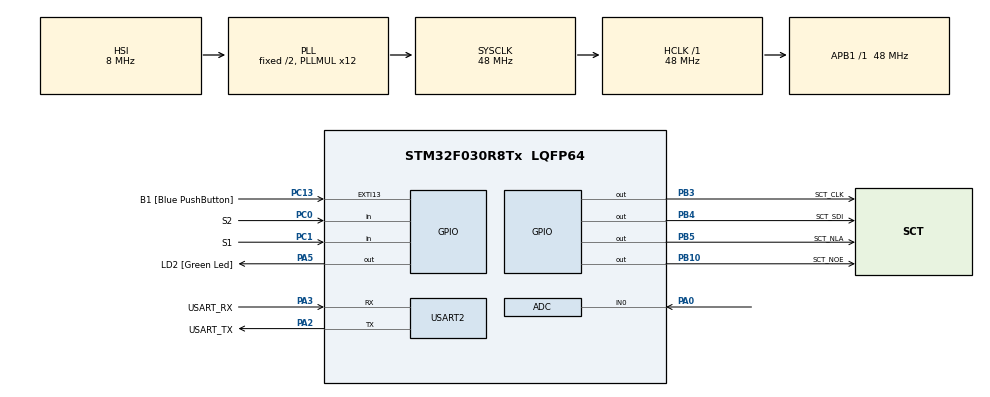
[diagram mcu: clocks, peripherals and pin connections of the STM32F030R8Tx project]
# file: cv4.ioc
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ADC.ContinuousConvMode=ENABLE
ADC.Overrun=ADC_OVR_DATA_OVERWRITTEN
ADC.SamplingTime=ADC_SAMPLETIME_239CYCLES_5
Mcu.Family=STM32F0
Mcu.Name=STM32F030R8Tx
Mcu.Package=LQFP64
NVIC.ADC1_IRQn=true\:0\:0\:false\:false\:true\:true\:true\:true
PA0.Mode=IN0
PA0.Signal=ADC_IN0
PA13.GPIO_Label=TMS
PA13.Mode=Serial_Wire
PA13.Signal=SYS_SWDIO
PA14.GPIO_Label=TCK
PA14.Mode=Serial_Wire
PA14.Signal=SYS_SWCLK
PA2.GPIO_Label=USART_TX
PA2.GPIO_Mode=GPIO_MODE_AF_PP
PA2.GPIO_PuPd=GPIO_NOPULL
PA2.GPIO_Speed=GPIO_SPEED_FREQ_LOW
PA2.Mode=Asynchronous
PA2.Signal=USART2_TX
PA3.GPIO_Label=USART_RX
PA3.GPIO_Mode=GPIO_MODE_AF_PP
PA3.GPIO_PuPd=GPIO_NOPULL
PA3.GPIO_Speed=GPIO_SPEED_FREQ_LOW
PA3.Mode=Asynchronous
PA3.Signal=USART2_RX
PA5.GPIO_Label=LD2 [Green Led]
PA5.GPIO_Mode=GPIO_MODE_OUTPUT_PP
PA5.GPIO_PuPd=GPIO_NOPULL
PA5.GPIO_Speed=GPIO_SPEED_FREQ_LOW
PA5.Signal=GPIO_Output
PB10.GPIO_Label=SCT_NOE
PB10.Signal=GPIO_Output
PB3.GPIO_Label=SCT_CLK
PB3.Signal=GPIO_Output
PB4.GPIO_Label=SCT_SDI
PB4.Signal=GPIO_Output
PB5.GPIO_Label=SCT_NLA
PB5.Signal=GPIO_Output
PC0.GPIO_Label=S2
PC0.GPIO_PuPd=GPIO_PULLUP
PC0.Signal=GPIO_Input
PC1.GPIO_Label=S1
PC1.GPIO_PuPd=GPIO_PULLUP
PC1.Signal=GPIO_Input
PC13.GPIO_Label=B1 [Blue PushButton]
PC13.GPIO_ModeDefaultEXTI=GPIO_MODE_IT_FALLING
PC13.Signal=GPXTI13
PC14-OSC32_IN.Mode=LSE-External-Oscillator
PC14-OSC32_IN.Signal=RCC_OSC32_IN
PC15-OSC32_OUT.Mode=LSE-External-Oscillator
PC15-OSC32_OUT.Signal=RCC_OSC32_OUT
PF0-OSC_IN.Mode=HSE-External-Clock-Source
PF0-OSC_IN.Signal=RCC_OSC_IN
PF1-OSC_OUT.Signal=RCC_OSC_OUT
ProjectManager.HeapSize=0x200
ProjectManager.StackSize=0x400
ProjectManager.TargetToolchain=STM32CubeIDE
RCC.AHBFreq_Value=48000000
RCC.APB1Freq_Value=48000000
RCC.APB1TimFreq_Value=48000000
RCC.HCLKFreq_Value=48000000
RCC.PLLMUL=RCC_PLL_MUL12
RCC.SYSCLKFreq_VALUE=48000000
RCC.SYSCLKSource=RCC_SYSCLKSOURCE_PLLCLK
USART2.VirtualMode-Asynchronous=VM_ASYNC
VP_ADC_TempSens_Input.Mode=IN-TempSens
VP_ADC_Vref_Input.Mode=IN-Vrefint
board=NUCLEO-F030R8

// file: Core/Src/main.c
/* USER CODE BEGIN Header */
/**
  ******************************************************************************
  * @file           : main.c
  * @brief          : Main program body
  ******************************************************************************
  * @attention
  *
  * Copyright (c) 2022 STMicroelectronics.
  * All rights reserved.
  *
  * This software is licensed under terms that can be found in the LICENSE file
  * in the root directory of this software component.
  * If no LICENSE file comes with this software, it is provided AS-IS.
  *
  ******************************************************************************
  */
/* USER CODE END Header */
#include "main.h"

/* USER CODE BEGIN Includes */
#include "sct.h"
/* USER CODE END Includes */

/* USER CODE BEGIN PD */
#define ADC_Q 13
/* Temperature sensor calibration value address */
#define TEMP110_CAL_ADDR ((uint16_t*) ((uint32_t) 0x1FFFF7C2))
#define TEMP30_CAL_ADDR ((uint16_t*) ((uint32_t) 0x1FFFF7B8))
/* Internal voltage reference calibration value address */
#define VREFINT_CAL_ADDR ((uint16_t*) ((uint32_t) 0x1FFFF7BA))
/* USER CODE END PD */

ADC_HandleTypeDef hadc;

UART_HandleTypeDef huart2;

/* USER CODE BEGIN PV */
static volatile uint32_t raw_pot;
static volatile uint32_t raw_temp;
static volatile uint32_t raw_volt;
/* USER CODE END PV */

void SystemClock_Config(void);
static void MX_GPIO_Init(void);
static void MX_USART2_UART_Init(void);
static void MX_ADC_Init(void);

/* USER CODE BEGIN 0 */
void HAL_ADC_ConvCpltCallback(ADC_HandleTypeDef* hadc)
{

	static uint32_t avg_pot;
	static uint32_t channel;
	if (channel == 0){
		raw_pot = avg_pot >> ADC_Q;
		avg_pot -= raw_pot;
		avg_pot += HAL_ADC_GetValue(hadc);
	}
	else if (channel == 1) {
		raw_temp = HAL_ADC_GetValue(hadc);
	}
	else if (channel == 2) {
		raw_volt = HAL_ADC_GetValue(hadc);
	}
	if (__HAL_ADC_GET_FLAG(hadc, ADC_FLAG_EOS)) channel = 0;
	else channel++;
}
/* USER CODE END 0 */

int main(void)
{

  /* MCU Configuration--------------------------------------------------------*/

  /* Reset of all peripherals, Initializes the Flash interface and the Systick. */
  HAL_Init();

  /* Configure the system clock */
  SystemClock_Config();

  /* Initialize all configured peripherals */
  MX_GPIO_Init();
  MX_USART2_UART_Init();
  MX_ADC_Init();
  /* USER CODE BEGIN 2 */
  sct_init();

  HAL_ADCEx_Calibration_Start(&hadc);
  HAL_ADC_Start_IT(&hadc);
  /* USER CODE END 2 */

  /* Infinite loop */
  while (1)
  {

    /* USER CODE BEGIN 3 */
	  static uint32_t time = 0;
	  static enum { SHOW_POT, SHOW_VOLT, SHOW_TEMP } state = SHOW_POT; //stavovy automat
	  if (HAL_GPIO_ReadPin(S1_GPIO_Port, S1_Pin)==0) {
		  time = HAL_GetTick();
		  state = SHOW_VOLT;
	  }
	  if (HAL_GPIO_ReadPin(S2_GPIO_Port, S2_Pin)==0) {
		  time = HAL_GetTick();
		  state = SHOW_TEMP;
	  }
	  if (HAL_GetTick() > time+1000) {
		  state = SHOW_POT;
	  }

	  if (state == SHOW_POT) {
		  sct_value((raw_pot*501/4096), ((raw_pot)/500));
	  }
	  else if (state == SHOW_TEMP) {
		  int32_t temperature = (raw_temp - (int32_t)(*TEMP30_CAL_ADDR));
		  temperature = temperature * (int32_t)(110 - 30);
		  temperature = temperature / (int32_t)(*TEMP110_CAL_ADDR - *TEMP30_CAL_ADDR);
		  temperature = temperature + 30;
		  sct_value(temperature, 0);
	  }
	  else if (state == SHOW_VOLT) {
		  uint32_t voltage = 330 * (*VREFINT_CAL_ADDR) / raw_volt;
		  sct_value(voltage, 0);

	  }
	  HAL_Delay(50);
  }
  /* USER CODE END 3 */
}

void SystemClock_Config(void)
{
  RCC_OscInitTypeDef RCC_OscInitStruct = {0};
  RCC_ClkInitTypeDef RCC_ClkInitStruct = {0};

  /** Initializes the RCC Oscillators according to the specified parameters
  * in the RCC_OscInitTypeDef structure.
  */
  RCC_OscInitStruct.OscillatorType = RCC_OSCILLATORTYPE_HSI|RCC_OSCILLATORTYPE_HSI14;
  RCC_OscInitStruct.HSIState = RCC_HSI_ON;
  RCC_OscInitStruct.HSI14State = RCC_HSI14_ON;
  RCC_OscInitStruct.HSICalibrationValue = RCC_HSICALIBRATION_DEFAULT;
  RCC_OscInitStruct.HSI14CalibrationValue = 16;
  RCC_OscInitStruct.PLL.PLLState = RCC_PLL_ON;
  RCC_OscInitStruct.PLL.PLLSource = RCC_PLLSOURCE_HSI;
  RCC_OscInitStruct.PLL.PLLMUL = RCC_PLL_MUL12;
  RCC_OscInitStruct.PLL.PREDIV = RCC_PREDIV_DIV1;
  if (HAL_RCC_OscConfig(&RCC_OscInitStruct) != HAL_OK)
  {
    Error_Handler();
  }

  /** Initializes the CPU, AHB and APB buses clocks
  */
  RCC_ClkInitStruct.ClockType = RCC_CLOCKTYPE_HCLK|RCC_CLOCKTYPE_SYSCLK
                              |RCC_CLOCKTYPE_PCLK1;
  RCC_ClkInitStruct.SYSCLKSource = RCC_SYSCLKSOURCE_PLLCLK;
  RCC_ClkInitStruct.AHBCLKDivider = RCC_SYSCLK_DIV1;
  RCC_ClkInitStruct.APB1CLKDivider = RCC_HCLK_DIV1;

  if (HAL_RCC_ClockConfig(&RCC_ClkInitStruct, FLASH_LATENCY_1) != HAL_OK)
  {
    Error_Handler();
  }
}

static void MX_ADC_Init(void)
{

  ADC_ChannelConfTypeDef sConfig = {0};

  /** Configure the global features of the ADC (Clock, Resolution, Data Alignment and number of conversion)
  */
  hadc.Instance = ADC1;
  hadc.Init.ClockPrescaler = ADC_CLOCK_ASYNC_DIV1;
  hadc.Init.Resolution = ADC_RESOLUTION_12B;
  hadc.Init.DataAlign = ADC_DATAALIGN_RIGHT;
  hadc.Init.ScanConvMode = ADC_SCAN_DIRECTION_FORWARD;
  hadc.Init.EOCSelection = ADC_EOC_SINGLE_CONV;
  hadc.Init.LowPowerAutoWait = DISABLE;
  hadc.Init.LowPowerAutoPowerOff = DISABLE;
  hadc.Init.ContinuousConvMode = ENABLE;
  hadc.Init.DiscontinuousConvMode = DISABLE;
  hadc.Init.ExternalTrigConv = ADC_SOFTWARE_START;
  hadc.Init.ExternalTrigConvEdge = ADC_EXTERNALTRIGCONVEDGE_NONE;
  hadc.Init.DMAContinuousRequests = DISABLE;
  hadc.Init.Overrun = ADC_OVR_DATA_OVERWRITTEN;
  if (HAL_ADC_Init(&hadc) != HAL_OK)
  {
    Error_Handler();
  }

  /** Configure for the selected ADC regular channel to be converted.
  */
  sConfig.Channel = ADC_CHANNEL_0;
  sConfig.Rank = ADC_RANK_CHANNEL_NUMBER;
  sConfig.SamplingTime = ADC_SAMPLETIME_239CYCLES_5;
  if (HAL_ADC_ConfigChannel(&hadc, &sConfig) != HAL_OK)
  {
    Error_Handler();
  }

  /** Configure for the selected ADC regular channel to be converted.
  */
  sConfig.Channel = ADC_CHANNEL_TEMPSENSOR;
  if (HAL_ADC_ConfigChannel(&hadc, &sConfig) != HAL_OK)
  {
    Error_Handler();
  }

  /** Configure for the selected ADC regular channel to be converted.
  */
  sConfig.Channel = ADC_CHANNEL_VREFINT;
  if (HAL_ADC_ConfigChannel(&hadc, &sConfig) != HAL_OK)
  {
    Error_Handler();
  }

}

static void MX_USART2_UART_Init(void)
{

  huart2.Instance = USART2;
  huart2.Init.BaudRate = 38400;
  huart2.Init.WordLength = UART_WORDLENGTH_8B;
  huart2.Init.StopBits = UART_STOPBITS_1;
  huart2.Init.Parity = UART_PARITY_NONE;
  huart2.Init.Mode = UART_MODE_TX_RX;
  huart2.Init.HwFlowCtl = UART_HWCONTROL_NONE;
  huart2.Init.OverSampling = UART_OVERSAMPLING_16;
  huart2.Init.OneBitSampling = UART_ONE_BIT_SAMPLE_DISABLE;
  huart2.AdvancedInit.AdvFeatureInit = UART_ADVFEATURE_NO_INIT;
  if (HAL_UART_Init(&huart2) != HAL_OK)
  {
    Error_Handler();
  }

}

static void MX_GPIO_Init(void)
{
  GPIO_InitTypeDef GPIO_InitStruct = {0};

  /* GPIO Ports Clock Enable */
  __HAL_RCC_GPIOC_CLK_ENABLE();
  __HAL_RCC_GPIOF_CLK_ENABLE();
  __HAL_RCC_GPIOA_CLK_ENABLE();
  __HAL_RCC_GPIOB_CLK_ENABLE();

  /*Configure GPIO pin Output Level */
  HAL_GPIO_WritePin(LD2_GPIO_Port, LD2_Pin, GPIO_PIN_RESET);

  /*Configure GPIO pin Output Level */
  HAL_GPIO_WritePin(GPIOB, SCT_NOE_Pin|SCT_CLK_Pin|SCT_SDI_Pin|SCT_NLA_Pin, GPIO_PIN_RESET);

  /*Configure GPIO pin : B1_Pin */
  GPIO_InitStruct.Pin = B1_Pin;
  GPIO_InitStruct.Mode = GPIO_MODE_IT_FALLING;
  GPIO_InitStruct.Pull = GPIO_NOPULL;
  HAL_GPIO_Init(B1_GPIO_Port, &GPIO_InitStruct);

  /*Configure GPIO pins : S2_Pin S1_Pin */
  GPIO_InitStruct.Pin = S2_Pin|S1_Pin;
  GPIO_InitStruct.Mode = GPIO_MODE_INPUT;
  GPIO_InitStruct.Pull = GPIO_PULLUP;
  HAL_GPIO_Init(GPIOC, &GPIO_InitStruct);

  /*Configure GPIO pin : LD2_Pin */
  GPIO_InitStruct.Pin = LD2_Pin;
  GPIO_InitStruct.Mode = GPIO_MODE_OUTPUT_PP;
  GPIO_InitStruct.Pull = GPIO_NOPULL;
  GPIO_InitStruct.Speed = GPIO_SPEED_FREQ_LOW;
  HAL_GPIO_Init(LD2_GPIO_Port, &GPIO_InitStruct);

  /*Configure GPIO pins : SCT_NOE_Pin SCT_CLK_Pin SCT_SDI_Pin SCT_NLA_Pin */
  GPIO_InitStruct.Pin = SCT_NOE_Pin|SCT_CLK_Pin|SCT_SDI_Pin|SCT_NLA_Pin;
  GPIO_InitStruct.Mode = GPIO_MODE_OUTPUT_PP;
  GPIO_InitStruct.Pull = GPIO_NOPULL;
  GPIO_InitStruct.Speed = GPIO_SPEED_FREQ_LOW;
  HAL_GPIO_Init(GPIOB, &GPIO_InitStruct);

}

void Error_Handler(void)
{
  __disable_irq();
  while (1)
  {
  }
}
